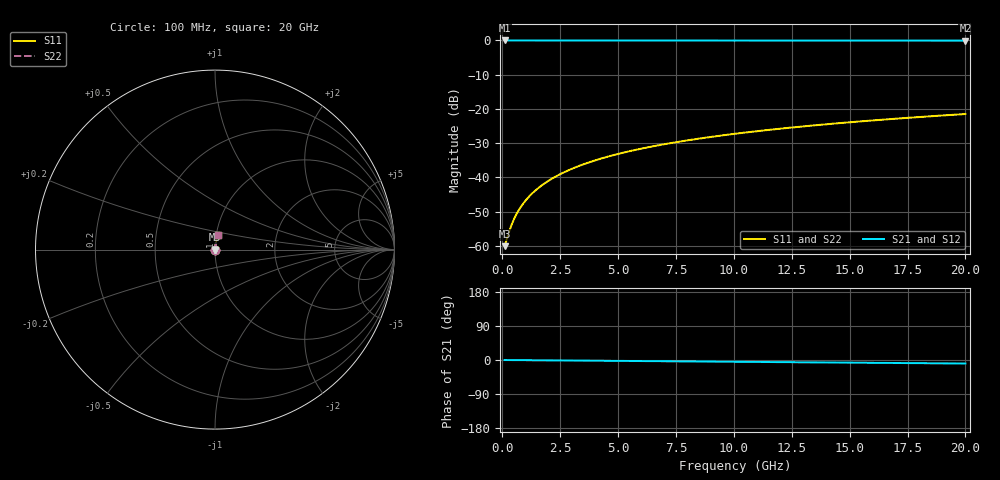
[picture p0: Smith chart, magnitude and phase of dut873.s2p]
! Touchstone file exported from HFSS 2026.1.0
!  File:  C:/ffzhzh/LocalFiles/Ansys_Project_Files/temp_train_TSV_873_1783185568_55132.aedt
!  Generated:  01:21:44 AM Jul  5, 2026
!  Design:  TSV
!  Project:  temp_train_TSV_873_1783185568_55132
! Variables:
!  h_bsmrdl = 2um
!  h_ox = 20um
!  h_rdl = 5um
!  h_sub = 79.92um
!  h_tmrdl = 5um
!  h_tsv = 79.92um
!  h_via = 3um
!  l_bsmrdl = 300um
!  l_sub = 406.56um
!  l_tmrdl = 200um
!  m_sub = 200um
!  pitch = 33.56um
!  r_tsv = 3.28um
!  s_tmrdl = 10um
!  w_bsmrdl = 18um
!  w_sub = 500um
!  w_tmrdl = 12um
!  x_tsv_center1 = 206um
!  x_tsv_center2 = 524um
!  x_tsv_center3 = 736um
!  x_tsv_center4 = 1054um
!  x_tsv_center5 = 1266um
!  x_tsv_center6 = 1584um
# GHz S MA R 50.000000
! Terminal data exported
! Port[1] = TSV1_1_T1
! Port[2] = TSV1_1_T2
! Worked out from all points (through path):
!   200 points, 100 MHz to 20 GHz, reference 50 ohm
!   highest |S21| = -0.01 dB at 100 MHz (marker M1); lowest = -0.1 dB at 20 GHz (marker M2)
!   group delay of S21, straight-line fit = 1.29 ps
!   lowest |S11| = -60.1 dB at 100 MHz (marker M3), VSWR 1.00, Z = 50.1 + j0.0457 ohm
!   |S11| at or under -10 dB: start of sweep to end of sweep
!   |S22| runs from -60.1 to -21.5 dB; largest |S21 - S12| = 3.3e-15
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0.1  0.0009872 27.6  0.9991 -0.0  0.9991 -0.0  0.0009872 27.6
! Gamma 0 0 0 0
! Port Impedance 50 0 50 0
0.3  0.001627 56.5  0.9991 -0.1  0.9991 -0.1  0.001627 56.5
0.4  0.002018 63.2  0.9991 -0.2  0.9991 -0.2  0.002018 63.2
0.5  0.002426 67.7  0.9991 -0.2  0.9991 -0.2  0.002426 67.7
0.6  0.002843 70.8  0.9991 -0.3  0.9991 -0.3  0.002843 70.8
0.7  0.003266 73.2  0.9991 -0.3  0.9991 -0.3  0.003266 73.2
0.9  0.004124 76.4  0.999 -0.4  0.999 -0.4  0.004124 76.4
1.2  0.005426 79.2  0.999 -0.6  0.999 -0.6  0.005426 79.2
1.4  0.006299 80.4  0.999 -0.7  0.999 -0.7  0.006299 80.4
1.7  0.007612 81.7  0.999 -0.8  0.999 -0.8  0.007612 81.7
2.2  0.009804 82.8  0.9989 -1.0  0.9989 -1.0  0.009804 82.8
2.8  0.01243 83.5  0.9988 -1.3  0.9988 -1.3  0.01243 83.5
3.5  0.01548 83.9  0.9987 -1.7  0.9987 -1.7  0.01548 83.9
4.2  0.01852 84.0  0.9985 -2.0  0.9985 -2.0  0.01852 84.0
5  0.02197 83.9  0.9983 -2.4  0.9983 -2.4  0.02197 83.9
5.9  0.02582 83.7  0.9981 -2.8  0.9981 -2.8  0.02582 83.7
6.8  0.02964 83.5  0.9978 -3.2  0.9978 -3.2  0.02964 83.5
8.3  0.03596 83.0  0.9974 -3.9  0.9974 -3.9  0.03596 83.0
10.1  0.04349 82.4  0.9969 -4.7  0.9969 -4.7  0.04349 82.4
13.4  0.05716 81.2  0.9958 -6.3  0.9958 -6.3  0.05716 81.2
16.7  0.07071 79.9  0.9946 -7.8  0.9946 -7.8  0.07071 79.9
20  0.08415 78.6  0.9933 -9.3  0.9933 -9.3  0.08415 78.6
